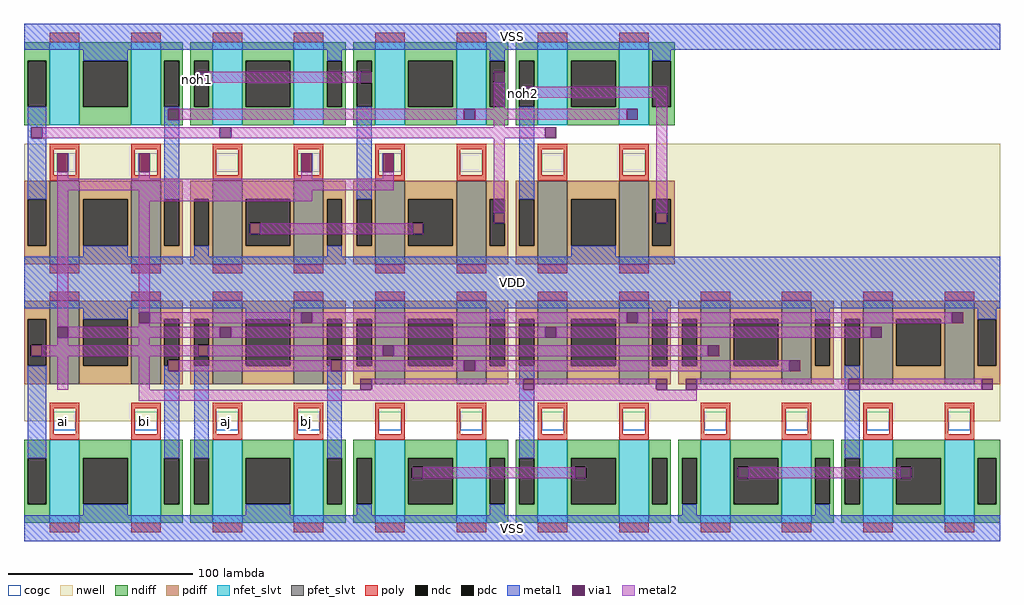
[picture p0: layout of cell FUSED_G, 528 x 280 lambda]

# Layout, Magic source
magic
tech asap5
<< nwell >>
rect 0 65 528 215
<< poly >>
rect 14 270 30 275
rect 58 270 74 275
rect 102 270 118 275
rect 146 270 162 275
rect 190 270 206 275
rect 234 270 250 275
rect 278 270 294 275
rect 322 270 338 275
rect 14 212 30 215
rect 14 198 16 212
rect 18 200 24 210
rect 28 198 30 212
rect 14 195 30 198
rect 58 212 74 215
rect 58 198 60 212
rect 62 200 68 210
rect 72 198 74 212
rect 58 195 74 198
rect 102 212 118 215
rect 102 198 104 212
rect 116 198 118 212
rect 102 195 118 198
rect 146 212 162 215
rect 146 198 148 212
rect 150 200 156 210
rect 160 198 162 212
rect 146 195 162 198
rect 190 212 206 215
rect 190 198 192 212
rect 194 200 200 210
rect 204 198 206 212
rect 190 195 206 198
rect 234 212 250 215
rect 234 198 236 212
rect 248 198 250 212
rect 234 195 250 198
rect 278 212 294 215
rect 278 198 280 212
rect 292 198 294 212
rect 278 195 294 198
rect 322 212 338 215
rect 322 198 324 212
rect 336 198 338 212
rect 322 195 338 198
rect 14 145 30 150
rect 58 145 74 150
rect 102 145 118 150
rect 146 145 162 150
rect 190 145 206 150
rect 234 145 250 150
rect 278 145 294 150
rect 322 145 338 150
rect 14 130 30 135
rect 58 130 74 135
rect 102 130 118 135
rect 146 130 162 135
rect 190 130 206 135
rect 234 130 250 135
rect 278 130 294 135
rect 322 130 338 135
rect 366 130 382 135
rect 410 130 426 135
rect 454 130 470 135
rect 498 130 514 135
rect 14 72 30 75
rect 14 58 16 72
rect 28 58 30 72
rect 14 55 30 58
rect 58 72 74 75
rect 58 58 60 72
rect 72 58 74 72
rect 58 55 74 58
rect 102 72 118 75
rect 102 58 104 72
rect 116 58 118 72
rect 102 55 118 58
rect 146 72 162 75
rect 146 58 148 72
rect 160 58 162 72
rect 146 55 162 58
rect 190 72 206 75
rect 190 58 192 72
rect 204 58 206 72
rect 190 55 206 58
rect 234 72 250 75
rect 234 58 236 72
rect 248 58 250 72
rect 234 55 250 58
rect 278 72 294 75
rect 278 58 280 72
rect 292 58 294 72
rect 278 55 294 58
rect 322 72 338 75
rect 322 58 324 72
rect 336 58 338 72
rect 322 55 338 58
rect 366 72 382 75
rect 366 58 368 72
rect 380 58 382 72
rect 366 55 382 58
rect 410 72 426 75
rect 410 58 412 72
rect 424 58 426 72
rect 410 55 426 58
rect 454 72 470 75
rect 454 58 456 72
rect 468 58 470 72
rect 454 55 470 58
rect 498 72 514 75
rect 498 58 500 72
rect 512 58 514 72
rect 498 55 514 58
rect 14 5 30 10
rect 58 5 74 10
rect 102 5 118 10
rect 146 5 162 10
rect 190 5 206 10
rect 234 5 250 10
rect 278 5 294 10
rect 322 5 338 10
rect 366 5 382 10
rect 410 5 426 10
rect 454 5 470 10
rect 498 5 514 10
<< ndiff >>
rect 0 260 14 270
rect 0 235 2 260
rect 12 235 14 260
rect 0 225 14 235
rect 30 260 58 270
rect 30 235 32 260
rect 56 235 58 260
rect 30 225 58 235
rect 74 260 86 270
rect 74 235 76 260
rect 84 235 86 260
rect 74 225 86 235
rect 90 260 102 270
rect 90 235 92 260
rect 100 254 102 260
rect 94 248 102 254
rect 100 235 102 248
rect 90 225 102 235
rect 118 260 146 270
rect 118 235 120 260
rect 144 235 146 260
rect 118 225 146 235
rect 162 260 174 270
rect 162 235 164 260
rect 172 235 174 260
rect 162 225 174 235
rect 178 260 190 270
rect 178 235 180 260
rect 188 254 190 260
rect 182 248 190 254
rect 188 235 190 248
rect 178 225 190 235
rect 206 260 234 270
rect 206 235 208 260
rect 232 235 234 260
rect 206 225 234 235
rect 250 260 262 270
rect 250 235 252 260
rect 260 254 262 260
rect 254 248 262 254
rect 260 235 262 248
rect 250 225 262 235
rect 266 260 278 270
rect 266 235 268 260
rect 276 246 278 260
rect 270 240 278 246
rect 276 235 278 240
rect 266 225 278 235
rect 294 260 322 270
rect 294 235 296 260
rect 320 235 322 260
rect 294 225 322 235
rect 338 260 352 270
rect 338 235 340 260
rect 350 235 352 260
rect 338 225 352 235
rect 0 45 14 55
rect 0 20 2 45
rect 12 20 14 45
rect 0 10 14 20
rect 30 45 58 55
rect 30 20 32 45
rect 56 20 58 45
rect 30 10 58 20
rect 74 45 86 55
rect 74 20 76 45
rect 84 20 86 45
rect 74 10 86 20
rect 90 45 102 55
rect 90 20 92 45
rect 100 20 102 45
rect 90 10 102 20
rect 118 45 146 55
rect 118 20 120 45
rect 144 20 146 45
rect 118 10 146 20
rect 162 45 174 55
rect 162 20 164 45
rect 172 20 174 45
rect 162 10 174 20
rect 178 45 190 55
rect 178 20 180 45
rect 188 20 190 45
rect 178 10 190 20
rect 206 45 234 55
rect 206 20 208 45
rect 210 34 216 40
rect 232 20 234 45
rect 206 10 234 20
rect 250 45 262 55
rect 250 20 252 45
rect 260 20 262 45
rect 250 10 262 20
rect 266 45 278 55
rect 266 20 268 45
rect 276 20 278 45
rect 266 10 278 20
rect 294 45 322 55
rect 294 20 296 45
rect 298 34 304 40
rect 320 20 322 45
rect 294 10 322 20
rect 338 45 350 55
rect 338 20 340 45
rect 348 20 350 45
rect 338 10 350 20
rect 354 45 366 55
rect 354 20 356 45
rect 364 20 366 45
rect 354 10 366 20
rect 382 45 410 55
rect 382 20 384 45
rect 386 34 392 40
rect 408 20 410 45
rect 382 10 410 20
rect 426 45 438 55
rect 426 20 428 45
rect 436 20 438 45
rect 426 10 438 20
rect 442 45 454 55
rect 442 20 444 45
rect 452 20 454 45
rect 442 10 454 20
rect 470 45 498 55
rect 470 20 472 45
rect 474 34 480 40
rect 496 20 498 45
rect 470 10 498 20
rect 514 45 528 55
rect 514 20 516 45
rect 526 20 528 45
rect 514 10 528 20
<< pdiff >>
rect 0 185 14 195
rect 0 160 2 185
rect 12 160 14 185
rect 0 150 14 160
rect 30 185 58 195
rect 30 160 32 185
rect 56 160 58 185
rect 30 150 58 160
rect 74 185 86 195
rect 74 160 76 185
rect 84 160 86 185
rect 74 150 86 160
rect 90 185 102 195
rect 90 160 92 185
rect 100 160 102 185
rect 90 150 102 160
rect 118 185 146 195
rect 118 160 120 185
rect 122 166 128 172
rect 144 160 146 185
rect 118 150 146 160
rect 162 185 174 195
rect 162 160 164 185
rect 172 160 174 185
rect 162 150 174 160
rect 178 185 190 195
rect 178 160 180 185
rect 188 160 190 185
rect 178 150 190 160
rect 206 185 234 195
rect 206 160 208 185
rect 210 166 216 172
rect 232 160 234 185
rect 206 150 234 160
rect 250 185 262 195
rect 250 160 252 185
rect 260 178 262 185
rect 254 172 262 178
rect 260 160 262 172
rect 250 150 262 160
rect 266 185 278 195
rect 266 160 268 185
rect 276 160 278 185
rect 266 150 278 160
rect 294 185 322 195
rect 294 160 296 185
rect 320 160 322 185
rect 294 150 322 160
rect 338 185 352 195
rect 338 160 340 185
rect 342 172 348 178
rect 350 160 352 185
rect 338 150 352 160
rect 0 120 14 130
rect 0 95 2 120
rect 4 100 10 106
rect 12 95 14 120
rect 0 85 14 95
rect 30 120 58 130
rect 30 95 32 120
rect 56 95 58 120
rect 30 85 58 95
rect 74 120 86 130
rect 74 95 76 120
rect 84 98 86 120
rect 78 95 86 98
rect 74 85 86 95
rect 90 120 102 130
rect 90 95 92 120
rect 100 106 102 120
rect 94 100 102 106
rect 100 95 102 100
rect 90 85 102 95
rect 118 120 146 130
rect 118 95 120 120
rect 144 95 146 120
rect 118 85 146 95
rect 162 120 174 130
rect 162 95 164 120
rect 172 98 174 120
rect 166 95 174 98
rect 162 85 174 95
rect 178 120 190 130
rect 178 95 180 120
rect 188 95 190 120
rect 178 85 190 95
rect 206 120 234 130
rect 206 95 208 120
rect 232 95 234 120
rect 206 85 234 95
rect 250 120 262 130
rect 250 95 252 120
rect 260 95 262 120
rect 250 85 262 95
rect 266 120 278 130
rect 266 95 268 120
rect 276 95 278 120
rect 266 85 278 95
rect 294 120 322 130
rect 294 95 296 120
rect 320 95 322 120
rect 294 85 322 95
rect 338 120 350 130
rect 338 95 340 120
rect 348 95 350 120
rect 338 85 350 95
rect 354 120 366 130
rect 354 95 356 120
rect 364 95 366 120
rect 354 85 366 95
rect 382 120 410 130
rect 382 95 384 120
rect 408 95 410 120
rect 382 85 410 95
rect 426 120 438 130
rect 426 95 428 120
rect 436 95 438 120
rect 426 85 438 95
rect 442 120 454 130
rect 442 95 444 120
rect 452 95 454 120
rect 442 85 454 95
rect 470 120 498 130
rect 470 95 472 120
rect 496 95 498 120
rect 470 85 498 95
rect 514 120 528 130
rect 514 95 516 120
rect 526 95 528 120
rect 514 85 528 95
<< nfet_slvt >>
rect 14 225 30 270
rect 58 225 74 270
rect 102 225 118 270
rect 146 225 162 270
rect 190 225 206 270
rect 234 225 250 270
rect 278 225 294 270
rect 322 225 338 270
rect 14 10 30 55
rect 58 10 74 55
rect 102 10 118 55
rect 146 10 162 55
rect 190 10 206 55
rect 234 10 250 55
rect 278 10 294 55
rect 322 10 338 55
rect 366 10 382 55
rect 410 10 426 55
rect 454 10 470 55
rect 498 10 514 55
<< pfet_slvt >>
rect 14 150 30 195
rect 58 150 74 195
rect 102 150 118 195
rect 146 150 162 195
rect 190 150 206 195
rect 234 150 250 195
rect 278 150 294 195
rect 322 150 338 195
rect 14 85 30 130
rect 58 85 74 130
rect 102 85 118 130
rect 146 85 162 130
rect 190 85 206 130
rect 234 85 250 130
rect 278 85 294 130
rect 322 85 338 130
rect 366 85 382 130
rect 410 85 426 130
rect 454 85 470 130
rect 498 85 514 130
<< metal1 >>
rect 0 266 528 280
rect 32 260 56 266
rect 164 260 172 266
rect 252 260 260 266
rect 340 260 350 266
rect 2 224 12 235
rect 2 218 4 224
rect 10 218 12 224
rect 2 185 12 218
rect 76 234 84 235
rect 76 228 78 234
rect 76 185 84 228
rect 180 185 188 235
rect 268 185 276 235
rect 32 154 56 160
rect 92 154 100 160
rect 164 154 172 160
rect 296 154 320 160
rect 0 126 528 154
rect 32 120 56 126
rect 120 120 144 126
rect 2 45 12 95
rect 76 92 78 95
rect 76 45 84 92
rect 252 120 260 126
rect 92 45 100 95
rect 164 92 166 95
rect 340 120 348 126
rect 428 120 436 126
rect 164 45 172 92
rect 268 88 276 95
rect 516 120 526 126
rect 444 88 452 95
rect 268 82 270 88
rect 444 82 446 88
rect 268 45 276 82
rect 444 45 452 82
rect 32 14 56 20
rect 120 14 144 20
rect 180 14 188 20
rect 252 14 260 20
rect 356 14 364 20
rect 428 14 436 20
rect 0 0 528 14
<< cogc >>
rect 16 200 18 210
rect 24 200 28 210
rect 60 200 62 210
rect 68 200 72 210
rect 104 200 116 210
rect 148 200 150 210
rect 156 200 160 210
rect 192 200 194 210
rect 200 200 204 210
rect 236 200 248 210
rect 280 200 292 210
rect 324 200 336 210
rect 16 60 28 70
rect 60 60 72 70
rect 104 60 116 70
rect 148 60 160 70
rect 192 60 204 70
rect 236 60 248 70
rect 280 60 292 70
rect 324 60 336 70
rect 368 60 380 70
rect 412 60 424 70
rect 456 60 468 70
rect 500 60 512 70
<< ndc >>
rect 2 235 12 260
rect 32 235 56 260
rect 76 235 84 260
rect 92 254 100 260
rect 92 248 94 254
rect 92 235 100 248
rect 120 235 144 260
rect 164 235 172 260
rect 180 254 188 260
rect 180 248 182 254
rect 180 235 188 248
rect 208 235 232 260
rect 252 254 260 260
rect 252 248 254 254
rect 252 235 260 248
rect 268 246 276 260
rect 268 240 270 246
rect 268 235 276 240
rect 296 235 320 260
rect 340 235 350 260
rect 2 20 12 45
rect 32 20 56 45
rect 76 20 84 45
rect 92 20 100 45
rect 120 20 144 45
rect 164 20 172 45
rect 180 20 188 45
rect 208 40 232 45
rect 208 34 210 40
rect 216 34 232 40
rect 208 20 232 34
rect 252 20 260 45
rect 268 20 276 45
rect 296 40 320 45
rect 296 34 298 40
rect 304 34 320 40
rect 296 20 320 34
rect 340 20 348 45
rect 356 20 364 45
rect 384 40 408 45
rect 384 34 386 40
rect 392 34 408 40
rect 384 20 408 34
rect 428 20 436 45
rect 444 20 452 45
rect 472 40 496 45
rect 472 34 474 40
rect 480 34 496 40
rect 472 20 496 34
rect 516 20 526 45
<< pdc >>
rect 2 160 12 185
rect 32 160 56 185
rect 76 160 84 185
rect 92 160 100 185
rect 120 172 144 185
rect 120 166 122 172
rect 128 166 144 172
rect 120 160 144 166
rect 164 160 172 185
rect 180 160 188 185
rect 208 172 232 185
rect 208 166 210 172
rect 216 166 232 172
rect 208 160 232 166
rect 252 178 260 185
rect 252 172 254 178
rect 252 160 260 172
rect 268 160 276 185
rect 296 160 320 185
rect 340 178 350 185
rect 340 172 342 178
rect 348 172 350 178
rect 340 160 350 172
rect 2 106 12 120
rect 2 100 4 106
rect 10 100 12 106
rect 2 95 12 100
rect 32 95 56 120
rect 76 98 84 120
rect 76 95 78 98
rect 92 106 100 120
rect 92 100 94 106
rect 92 95 100 100
rect 120 95 144 120
rect 164 98 172 120
rect 164 95 166 98
rect 180 95 188 120
rect 208 95 232 120
rect 252 95 260 120
rect 268 95 276 120
rect 296 95 320 120
rect 340 95 348 120
rect 356 95 364 120
rect 384 95 408 120
rect 428 95 436 120
rect 444 95 452 120
rect 472 95 496 120
rect 516 95 526 120
<< metal2 >>
rect 100 248 182 254
rect 254 234 260 248
rect 276 240 348 246
rect 84 228 238 234
rect 244 228 326 234
rect 254 224 260 228
rect 10 218 106 224
rect 112 218 282 224
rect 18 196 24 200
rect 62 196 68 200
rect 150 196 156 200
rect 194 196 200 200
rect 18 190 200 196
rect 18 116 24 190
rect 62 184 156 190
rect 62 124 68 184
rect 254 178 260 218
rect 342 178 348 240
rect 128 166 210 172
rect 68 118 150 124
rect 156 118 326 124
rect 332 118 502 124
rect 62 116 68 118
rect 24 110 106 116
rect 112 110 282 116
rect 288 110 458 116
rect 18 106 24 110
rect 62 106 68 110
rect 10 100 94 106
rect 100 100 194 106
rect 200 100 370 106
rect 18 82 24 100
rect 62 82 68 100
rect 84 92 166 98
rect 172 92 238 98
rect 244 92 414 98
rect 188 82 270 88
rect 276 82 342 88
rect 364 82 446 88
rect 452 82 518 88
rect 62 76 364 82
rect 216 34 298 40
rect 392 34 474 40
<< via1 >>
rect 94 248 100 254
rect 182 248 188 254
rect 254 248 260 254
rect 270 240 276 246
rect 78 228 84 234
rect 238 228 244 234
rect 326 228 332 234
rect 4 218 10 224
rect 106 218 112 224
rect 282 218 288 224
rect 18 200 24 210
rect 62 200 68 210
rect 150 200 156 210
rect 194 200 200 210
rect 254 172 260 178
rect 342 172 348 178
rect 122 166 128 172
rect 210 166 216 172
rect 62 118 68 124
rect 150 118 156 124
rect 326 118 332 124
rect 502 118 508 124
rect 18 110 24 116
rect 106 110 112 116
rect 282 110 288 116
rect 458 110 464 116
rect 4 100 10 106
rect 94 100 100 106
rect 194 100 200 106
rect 370 100 376 106
rect 78 92 84 98
rect 166 92 172 98
rect 238 92 244 98
rect 414 92 420 98
rect 182 82 188 88
rect 270 82 276 88
rect 342 82 348 88
rect 358 82 364 88
rect 446 82 452 88
rect 518 82 524 88
rect 210 34 216 40
rect 298 34 304 40
rect 386 34 392 40
rect 474 34 480 40
<< labels >>
flabel cogc 18 65 24 65 1 FreeSerif 1 0 0 0 ai
flabel cogc 62 65 68 65 1 FreeSerif 1 0 0 0 bi
flabel cogc 106 65 112 65 1 FreeSerif 1 0 0 0 aj
flabel cogc 150 65 156 65 1 FreeSerif 1 0 0 0 bj
flabel via1 94 250 94 250 1 FreeSerif 1 0 0 0 noh1
flabel via1 270 242 270 242 1 FreeSerif 1 0 0 0 noh2
flabel metal1 264 7 264 7 1 FreeSerif 1 0 0 0 VSS
rlabel metal1 264 140 264 140 1 VDD
flabel metal1 264 273 264 273 1 FreeSerif 1 0 0 0 VSS
<< end >>
